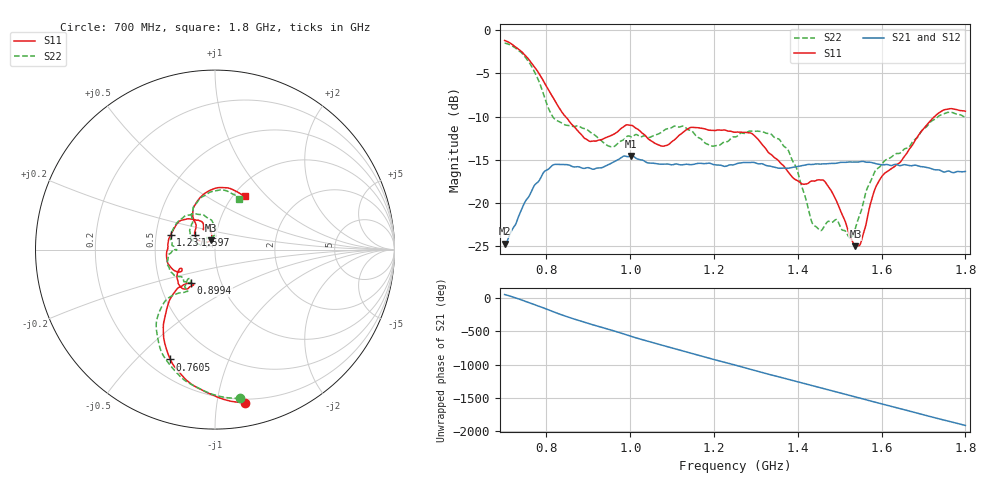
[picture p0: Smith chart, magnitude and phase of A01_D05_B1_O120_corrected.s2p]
! Created with skrf 1.9.0 (http://scikit-rf.org).
# Hz S RI R 50.0
!freq ReS11 ImS11 ReS21 ImS21 ReS12 ImS12 ReS22 ImS22
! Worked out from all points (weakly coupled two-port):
!   1601 points, 700 MHz to 1.8 GHz, reference 50 ohm
!   highest |S21| = -14.55 dB at 1.002 GHz (marker M1); lowest = -24.7 dB at 700 MHz (marker M2)
!   lowest |S11| = -25.0 dB at 1.537 GHz (marker M3), VSWR 1.12, Z = 47.4 + j4.86 ohm
!   |S11| at or under -10 dB: 845.2 MHz to 1.727 GHz (881.3 MHz wide, 68.5 % of centre)
!   |S22| runs from -24.1 to -1.5 dB; largest |S21 - S12| = 0.0036
!   S11 on the Smith chart (normalised r, x): 700 MHz: 0.17, -1.20; 760.5 MHz: 0.29, -0.63; 899.4 MHz: 0.72, -0.29; 1.237 GHz: 0.60, +0.10; 1.597 GHz: 0.79, +0.13; 1.8 GHz: 1.13, +0.76
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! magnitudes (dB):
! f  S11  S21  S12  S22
! 700 MHz  -1.2  -24.7  -24.5  -1.5
! 760.5 MHz  -3.6  -19.0  -18.9  -3.9
! 816.9 MHz  -7.9  -15.6  -15.7  -10.2
! 883.6 MHz  -12.1  -15.9  -15.8  -11.3
! 899.4 MHz  -12.8  -15.9  -15.9  -11.6
! 953.7 MHz  -12.2  -15.4  -15.4  -13.5
! 1.002 GHz  -11.0  -14.6  -14.7  -12.3
! 1.067 GHz  -13.3  -15.5  -15.4  -12.0
! 1.145 GHz  -11.3  -15.6  -15.6  -11.6
! 1.237 GHz  -11.7  -15.6  -15.7  -12.7
! 1.25 GHz  -11.8  -15.5  -15.5  -12.4
! 1.357 GHz  -15.3  -16.0  -15.9  -12.7
! 1.396 GHz  -17.3  -15.8  -15.8  -15.9
! 1.434 GHz  -17.4  -15.6  -15.5  -22.2
! 1.476 GHz  -18.3  -15.4  -15.4  -22.1
! 1.525 GHz  -23.8  -15.2  -15.2  -24.1
! 1.537 GHz  -25.0  -15.3  -15.3  -22.9
! 1.551 GHz  -24.5  -15.2  -15.2  -20.9
! 1.597 GHz  -17.2  -15.5  -15.5  -15.7
! 1.617 GHz  -16.2  -15.6  -15.6  -14.9
! 1.735 GHz  -9.7  -16.2  -16.2  -10.0
! 1.8 GHz  -9.4  -16.3  -16.3  -10.1
